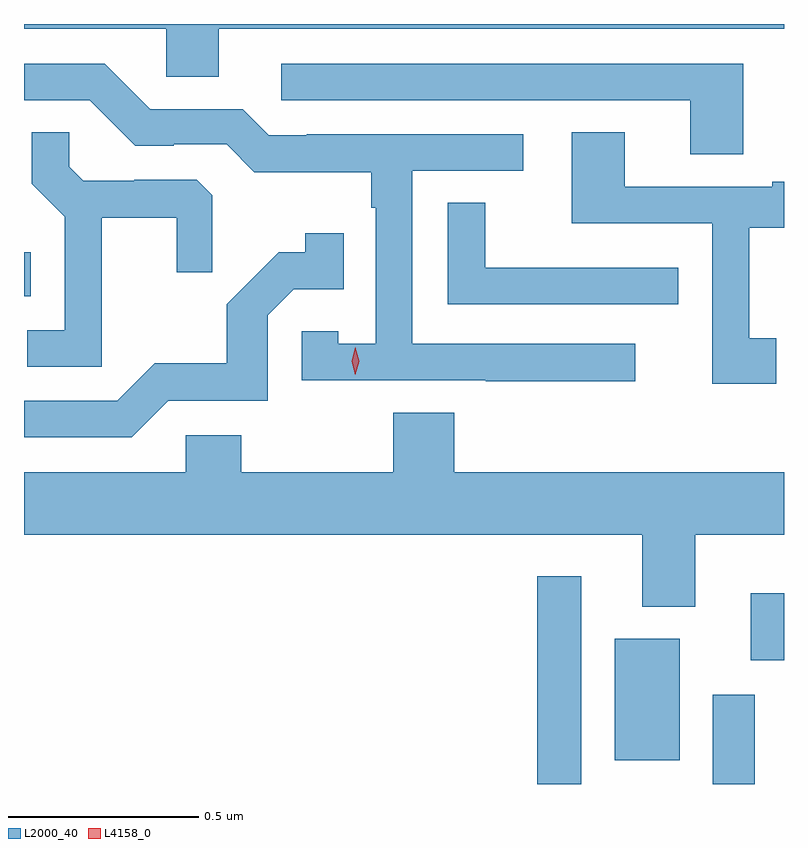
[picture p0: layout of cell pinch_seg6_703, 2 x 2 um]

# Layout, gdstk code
import gdstk
lib = gdstk.Library(unit=1e-6, precision=1e-09)
def R(c, l, rs):  # rectangles x0, y0, x1, y1
    for r in rs: c.add(gdstk.rectangle(r[:2], r[2:], *l))
def P(c, l, *ps):  # polygons
    for p in ps: c.add(gdstk.Polygon(p, *l))
L2000_40 = (2000, 40)
L4158_0 = (4158, 0)

pinch_seg6_703 = lib.new_cell('pinch_seg6_703')
R(pinch_seg6_703, L2000_40, [(491.272,944.016,491.388,944.563), (491.735,944.016,491.845,944.251), (491.477,944.078,491.647,944.398), (491.834,944.342,491.922,944.518), (489.922,945.299,489.94,945.415)])
P(pinch_seg6_703, L2000_40, [(490.435,946.004),(491.922,946.004),(491.922,946.016),(489.922,946.016),(489.922,946.004),(490.296,946.004),(490.296,945.877),(490.435,945.877)],
  [(491.53,945.174),(490.944,945.174),(490.944,945.63),(491.236,945.63),(491.236,945.726),(490.666,945.726),(490.666,945.723),(490.566,945.723),(490.497,945.792),(490.254,945.792),(490.134,945.912),(489.922,945.912),(489.922,945.816),(490.095,945.816),(490.215,945.696),(490.316,945.696),(490.316,945.699),(490.455,945.699),(490.528,945.626),(490.836,945.626),(490.836,945.533),(490.848,945.533),(490.848,945.175),(490.749,945.175),(490.749,945.207),(490.653,945.207),(490.653,945.078),(491.137,945.078),(491.137,945.076),(491.53,945.076)],
  [(491.815,945.912),(490.599,945.912),(490.599,945.816),(491.675,945.816),(491.675,945.673),(491.815,945.673)],
  [(490.127,945.506),(490.324,945.506),(490.324,945.363),(490.418,945.363),(490.418,945.565),(490.377,945.606),(490.212,945.606),(490.212,945.603),(490.078,945.603),(490.041,945.64),(490.041,945.731),(489.943,945.731),(489.943,945.595),(490.029,945.509),(490.029,945.21),(489.93,945.21),(489.93,945.114),(490.127,945.114)],
  [(491.902,945.189),(491.83,945.189),(491.83,945.48),(491.922,945.48),(491.922,945.601),(491.891,945.601),(491.891,945.588),(491.503,945.588),(491.503,945.731),(491.363,945.731),(491.363,945.492),(491.733,945.492),(491.733,945.069),(491.902,945.069)],
  [(491.644,945.374),(491.531,945.374),(491.531,945.375),(491.136,945.375),(491.136,945.545),(491.037,945.545),(491.037,945.279),(491.644,945.279)],
  [(490.302,945.024),(490.563,945.024),(490.563,945.249),(490.632,945.318),(490.763,945.318),(490.763,945.466),(490.662,945.466),(490.662,945.416),(490.592,945.416),(490.455,945.278),(490.455,945.123),(490.266,945.123),(490.167,945.024),(489.922,945.024),(489.922,944.928),(490.206,944.928)],
  [(491.689,944.672),(491.922,944.672),(491.922,944.836),(491.054,944.836),(491.054,944.993),(490.894,944.993),(490.894,944.836),(490.494,944.836),(490.494,944.934),(490.347,944.934),(490.347,944.836),(489.922,944.836),(489.922,944.672),(491.549,944.672),(491.549,944.483),(491.689,944.483)])
P(pinch_seg6_703, L4158_0, [(490.794,945.093),(490.794,945.093),(490.784,945.129),(490.794,945.165),(490.794,945.165),(490.794,945.165),(490.804,945.129),(490.794,945.093)])

lib.write_gds('pinch_seg6_703.gds')
